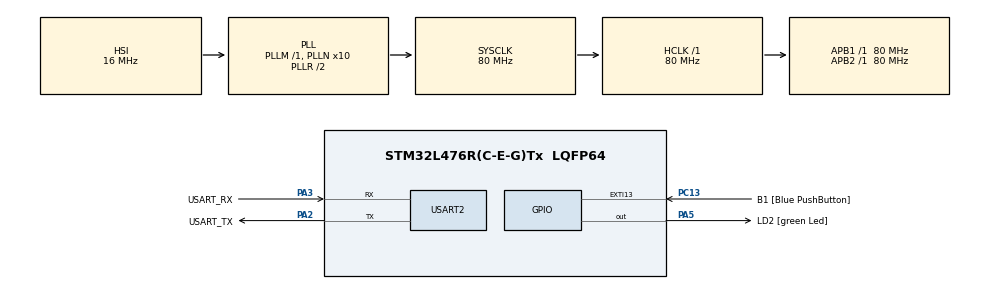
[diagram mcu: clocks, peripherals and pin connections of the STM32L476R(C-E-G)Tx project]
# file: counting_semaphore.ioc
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FREERTOS.Tasks01=defaultTask,0,128,StartDefaultTask,Default,NULL,Dynamic,NULL,NULL
FREERTOS.configUSE_COUNTING_SEMAPHORES=1
Mcu.Family=STM32L4
Mcu.Name=STM32L476R(C-E-G)Tx
Mcu.Package=LQFP64
NVIC.EXTI15_10_IRQn=true\:5\:0\:false\:false\:true\:true\:true\:true\:true
NVIC.PriorityGroup=NVIC_PRIORITYGROUP_4
PA13\ (JTMS-SWDIO).GPIO_Label=TMS
PA13\ (JTMS-SWDIO).Mode=Serial_Wire
PA13\ (JTMS-SWDIO).Signal=SYS_JTMS-SWDIO
PA14\ (JTCK-SWCLK).GPIO_Label=TCK
PA14\ (JTCK-SWCLK).Mode=Serial_Wire
PA14\ (JTCK-SWCLK).Signal=SYS_JTCK-SWCLK
PA2.GPIO_Label=USART_TX
PA2.GPIO_Mode=GPIO_MODE_AF_PP
PA2.GPIO_PuPd=GPIO_NOPULL
PA2.GPIO_Speed=GPIO_SPEED_FREQ_VERY_HIGH
PA2.Mode=Asynchronous
PA2.Signal=USART2_TX
PA3.GPIO_Label=USART_RX
PA3.GPIO_Mode=GPIO_MODE_AF_PP
PA3.GPIO_PuPd=GPIO_NOPULL
PA3.GPIO_Speed=GPIO_SPEED_FREQ_VERY_HIGH
PA3.Mode=Asynchronous
PA3.Signal=USART2_RX
PA5.GPIO_Label=LD2 [green Led]
PA5.GPIO_ModeDefaultOutputPP=GPIO_MODE_OUTPUT_PP
PA5.GPIO_PuPd=GPIO_NOPULL
PA5.GPIO_Speed=GPIO_SPEED_FREQ_LOW
PA5.Signal=GPIO_Output
PB3\ (JTDO-TRACESWO).GPIO_Label=SWO
PB3\ (JTDO-TRACESWO).Signal=SYS_JTDO-SWO
PC13.GPIO_Label=B1 [Blue PushButton]
PC13.GPIO_ModeDefaultEXTI=GPIO_MODE_IT_FALLING
PC13.GPIO_PuPd=GPIO_NOPULL
PC13.Signal=GPXTI13
PC14-OSC32_IN\ (PC14).Mode=LSE-External-Oscillator
PC14-OSC32_IN\ (PC14).Signal=RCC_OSC32_IN
PC15-OSC32_OUT\ (PC15).Mode=LSE-External-Oscillator
PC15-OSC32_OUT\ (PC15).Signal=RCC_OSC32_OUT
PH0-OSC_IN\ (PH0).Signal=RCC_OSC_IN
PH1-OSC_OUT\ (PH1).Signal=RCC_OSC_OUT
ProjectManager.HeapSize=0x200
ProjectManager.StackSize=0x400
ProjectManager.TargetToolchain=STM32CubeIDE
RCC.ADCFreq_Value=64000000
RCC.AHBFreq_Value=80000000
RCC.APB1Freq_Value=80000000
RCC.APB1TimFreq_Value=80000000
RCC.APB2Freq_Value=80000000
RCC.APB2TimFreq_Value=80000000
RCC.CortexFreq_Value=80000000
RCC.HCLKFreq_Value=80000000
RCC.HSE_VALUE=8000000
RCC.HSI_VALUE=16000000
RCC.MSI_VALUE=4000000
RCC.PLLN=10
RCC.PLLSourceVirtual=RCC_PLLSOURCE_HSI
RCC.PREFETCH_ENABLE=1
RCC.SYSCLKFreq_VALUE=80000000
RCC.SYSCLKSource=RCC_SYSCLKSOURCE_PLLCLK
RCC.USBFreq_Value=64000000
RCC.VCOOutputFreq_Value=160000000
USART2.VirtualMode-Asynchronous=VM_ASYNC
VP_FREERTOS_VS_CMSIS_V1.Mode=CMSIS_V1
board=NUCLEO-L476RG

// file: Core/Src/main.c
/* USER CODE BEGIN Header */
/**
  ******************************************************************************
  * @file           : main.c
  * @brief          : Main program body
  ******************************************************************************
  * @attention
  *
  * Copyright (c) 2025 STMicroelectronics.
  * All rights reserved.
  *
  * This software is licensed under terms that can be found in the LICENSE file
  * in the root directory of this software component.
  * If no LICENSE file comes with this software, it is provided AS-IS.
  *
  ******************************************************************************
  */
/* USER CODE END Header */
#include "main.h"
#include "cmsis_os.h"

/* USER CODE BEGIN Includes */
#include<string.h>
#include<stdio.h>
#include"semphr.h"
/* USER CODE END Includes */

UART_HandleTypeDef huart2;

osThreadId defaultTaskHandle;
/* USER CODE BEGIN PV */
SemaphoreHandle_t xcntsem;  //counting semaphore handle
/* USER CODE END PV */

void SystemClock_Config(void);
static void MX_GPIO_Init(void);
static void MX_USART2_UART_Init(void);
void StartDefaultTask(void const * argument);

/* USER CODE BEGIN 0 */
// Function to send strings via UART2
void uart_send(char *s)
{
    // Transmit the string through UART2
    HAL_UART_Transmit(&huart2, (uint8_t *)s, strlen(s), 1000);
}

// Handler task → waits (takes) the semaphore
static void handlertask(void *p)
{
    while(1)
    {
        // Block here until semaphore is available
        if(xSemaphoreTake(xcntsem , portMAX_DELAY) == pdTRUE)
        {
            // If semaphore successfully taken, process message
            uart_send("Handler task - processing\r\n");
        }
    }
}

// Periodic task → gives (releases) semaphore tokens
static void periodictask(void *p)
{
    while(1)
    {
        // Wait for 500ms
        vTaskDelay(pdMS_TO_TICKS(500));

        // Print message to indicate giving semaphore
        uart_send("Periodic task giving semaphore\r\n");

        // Give semaphore 3 times
        xSemaphoreGive(xcntsem);
        xSemaphoreGive(xcntsem);
        xSemaphoreGive(xcntsem);
    }
}

/* USER CODE END 0 */

int main(void)
{

  /* MCU Configuration--------------------------------------------------------*/

  /* Reset of all peripherals, Initializes the Flash interface and the Systick. */
  HAL_Init();

  /* Configure the system clock */
  SystemClock_Config();

  /* Initialize all configured peripherals */
  MX_GPIO_Init();
  MX_USART2_UART_Init();

  /* Create the thread(s) */
  /* definition and creation of defaultTask */
  osThreadDef(defaultTask, StartDefaultTask, osPriorityNormal, 0, 128);
  defaultTaskHandle = osThreadCreate(osThread(defaultTask), NULL);

  /* USER CODE BEGIN RTOS_THREADS */
  // Create a counting semaphore with max count = 5, initial count = 0
  xcntsem = xSemaphoreCreateCounting(5, 0);

  if (xcntsem != NULL)   // Check if semaphore created successfully
  {
	  xTaskCreate(handlertask, "handler",configMINIMAL_STACK_SIZE,NULL,2,NULL); //handler task

	  xTaskCreate(periodictask,"Periodic",configMINIMAL_STACK_SIZE,NULL,1,NULL); //perriodic task
  }
  /* USER CODE END RTOS_THREADS */

  /* Start scheduler */
  osKernelStart();

  /* We should never get here as control is now taken by the scheduler */

  /* Infinite loop */
  while (1)
  {

  }
}

void SystemClock_Config(void)
{
  RCC_OscInitTypeDef RCC_OscInitStruct = {0};
  RCC_ClkInitTypeDef RCC_ClkInitStruct = {0};

  /** Configure the main internal regulator output voltage
  */
  if (HAL_PWREx_ControlVoltageScaling(PWR_REGULATOR_VOLTAGE_SCALE1) != HAL_OK)
  {
    Error_Handler();
  }

  /** Initializes the RCC Oscillators according to the specified parameters
  * in the RCC_OscInitTypeDef structure.
  */
  RCC_OscInitStruct.OscillatorType = RCC_OSCILLATORTYPE_HSI;
  RCC_OscInitStruct.HSIState = RCC_HSI_ON;
  RCC_OscInitStruct.HSICalibrationValue = RCC_HSICALIBRATION_DEFAULT;
  RCC_OscInitStruct.PLL.PLLState = RCC_PLL_ON;
  RCC_OscInitStruct.PLL.PLLSource = RCC_PLLSOURCE_HSI;
  RCC_OscInitStruct.PLL.PLLM = 1;
  RCC_OscInitStruct.PLL.PLLN = 10;
  RCC_OscInitStruct.PLL.PLLP = RCC_PLLP_DIV7;
  RCC_OscInitStruct.PLL.PLLQ = RCC_PLLQ_DIV2;
  RCC_OscInitStruct.PLL.PLLR = RCC_PLLR_DIV2;
  if (HAL_RCC_OscConfig(&RCC_OscInitStruct) != HAL_OK)
  {
    Error_Handler();
  }

  /** Initializes the CPU, AHB and APB buses clocks
  */
  RCC_ClkInitStruct.ClockType = RCC_CLOCKTYPE_HCLK|RCC_CLOCKTYPE_SYSCLK
                              |RCC_CLOCKTYPE_PCLK1|RCC_CLOCKTYPE_PCLK2;
  RCC_ClkInitStruct.SYSCLKSource = RCC_SYSCLKSOURCE_PLLCLK;
  RCC_ClkInitStruct.AHBCLKDivider = RCC_SYSCLK_DIV1;
  RCC_ClkInitStruct.APB1CLKDivider = RCC_HCLK_DIV1;
  RCC_ClkInitStruct.APB2CLKDivider = RCC_HCLK_DIV1;

  if (HAL_RCC_ClockConfig(&RCC_ClkInitStruct, FLASH_LATENCY_4) != HAL_OK)
  {
    Error_Handler();
  }
}

static void MX_USART2_UART_Init(void)
{

  huart2.Instance = USART2;
  huart2.Init.BaudRate = 115200;
  huart2.Init.WordLength = UART_WORDLENGTH_8B;
  huart2.Init.StopBits = UART_STOPBITS_1;
  huart2.Init.Parity = UART_PARITY_NONE;
  huart2.Init.Mode = UART_MODE_TX_RX;
  huart2.Init.HwFlowCtl = UART_HWCONTROL_NONE;
  huart2.Init.OverSampling = UART_OVERSAMPLING_16;
  huart2.Init.OneBitSampling = UART_ONE_BIT_SAMPLE_DISABLE;
  huart2.AdvancedInit.AdvFeatureInit = UART_ADVFEATURE_NO_INIT;
  if (HAL_UART_Init(&huart2) != HAL_OK)
  {
    Error_Handler();
  }

}

static void MX_GPIO_Init(void)
{
  GPIO_InitTypeDef GPIO_InitStruct = {0};

  /* GPIO Ports Clock Enable */
  __HAL_RCC_GPIOC_CLK_ENABLE();
  __HAL_RCC_GPIOH_CLK_ENABLE();
  __HAL_RCC_GPIOA_CLK_ENABLE();
  __HAL_RCC_GPIOB_CLK_ENABLE();

  /*Configure GPIO pin Output Level */
  HAL_GPIO_WritePin(LD2_GPIO_Port, LD2_Pin, GPIO_PIN_RESET);

  /*Configure GPIO pin : B1_Pin */
  GPIO_InitStruct.Pin = B1_Pin;
  GPIO_InitStruct.Mode = GPIO_MODE_IT_FALLING;
  GPIO_InitStruct.Pull = GPIO_NOPULL;
  HAL_GPIO_Init(B1_GPIO_Port, &GPIO_InitStruct);

  /*Configure GPIO pin : LD2_Pin */
  GPIO_InitStruct.Pin = LD2_Pin;
  GPIO_InitStruct.Mode = GPIO_MODE_OUTPUT_PP;
  GPIO_InitStruct.Pull = GPIO_NOPULL;
  GPIO_InitStruct.Speed = GPIO_SPEED_FREQ_LOW;
  HAL_GPIO_Init(LD2_GPIO_Port, &GPIO_InitStruct);

  /* EXTI interrupt init*/
  HAL_NVIC_SetPriority(EXTI15_10_IRQn, 5, 0);
  HAL_NVIC_EnableIRQ(EXTI15_10_IRQn);

}

void StartDefaultTask(void const * argument)
{
  for(;;)
  {
    osDelay(1);
  }
}

void Error_Handler(void)
{
  __disable_irq();
  while (1)
  {
  }
}
